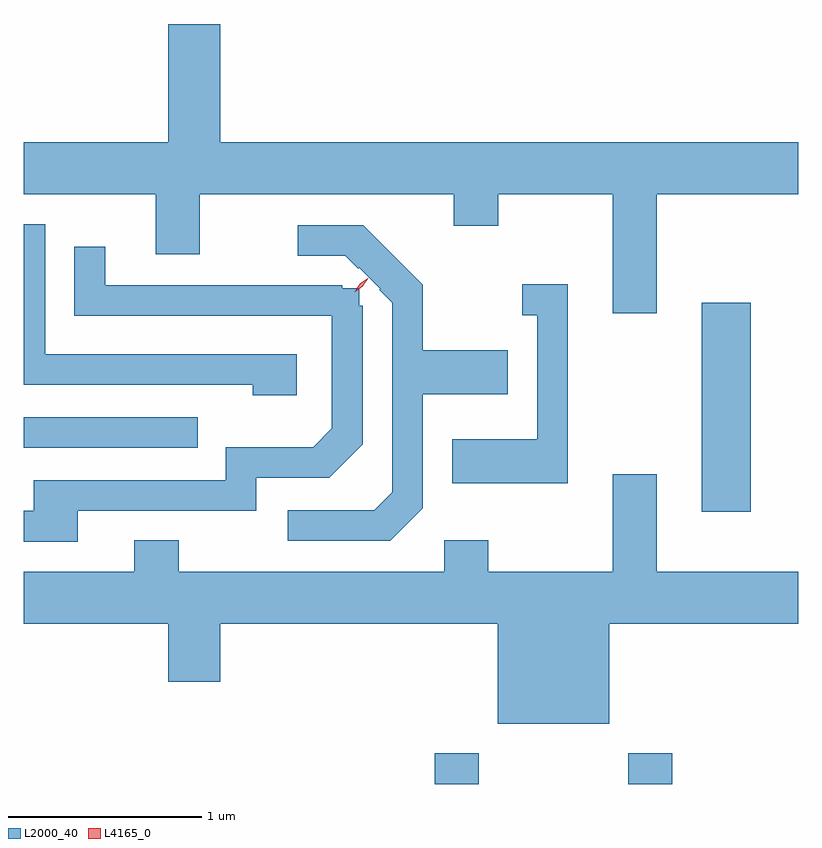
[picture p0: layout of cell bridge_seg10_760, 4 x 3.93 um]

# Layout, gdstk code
import gdstk
lib = gdstk.Library(unit=1e-6, precision=1e-09)
def R(c, l, rs):  # rectangles x0, y0, x1, y1
    for r in rs: c.add(gdstk.rectangle(r[:2], r[2:], *l))
def P(c, l, *ps):  # polygons
    for p in ps: c.add(gdstk.Polygon(p, *l))
L2000_40 = (2000, 40)
L4165_0 = (4165, 0)

bridge_seg10_760 = lib.new_cell('bridge_seg10_760')
R(bridge_seg10_760, L2000_40, [(596.071,2181.909,596.299,2182.069), (597.071,2181.909,597.299,2182.069), (597.451,2183.316,597.704,2184.394), (593.949,2183.646,594.848,2183.804)])
P(bridge_seg10_760, L2000_40, [(597.219,2184.956),(597.949,2184.956),(597.949,2185.224),(594.964,2185.224),(594.964,2185.834),(594.696,2185.834),(594.696,2185.224),(593.949,2185.224),(593.949,2184.956),(594.631,2184.956),(594.631,2184.646),(594.859,2184.646),(594.859,2184.956),(596.171,2184.956),(596.171,2184.791),(596.399,2184.791),(596.399,2184.956),(596.991,2184.956),(596.991,2184.341),(597.219,2184.341)],
  [(595.359,2184.129),(594.059,2184.129),(594.059,2184.799),(593.949,2184.799),(593.949,2183.971),(595.131,2183.971),(595.131,2183.916),(595.359,2183.916)],
  [(596.009,2183.334),(596.009,2183.921),(596.449,2183.921),(596.449,2184.149),(596.009,2184.149),(596.009,2184.487),(595.702,2184.794),(595.363,2184.794),(595.363,2184.636),(595.609,2184.636),(595.676,2184.569),(595.681,2184.575),(595.79,2184.466),(595.784,2184.461),(595.851,2184.394),(595.851,2183.417),(595.759,2183.324),(595.313,2183.324),(595.313,2183.166),(595.842,2183.166)],
  [(594.229,2183.321),(595.149,2183.321),(595.149,2183.491),(595.527,2183.491),(595.699,2183.664),(595.699,2184.38),(595.683,2184.38),(595.683,2184.468),(595.595,2184.468),(595.595,2184.484),(594.369,2184.484),(594.369,2184.683),(594.211,2184.683),(594.211,2184.326),(595.541,2184.326),(595.541,2183.747),(595.444,2183.649),(594.991,2183.649),(594.991,2183.479),(594.001,2183.479),(594.001,2183.319),(593.949,2183.319),(593.949,2183.161),(594.229,2183.161)],
  [(596.759,2184.489),(596.523,2184.489),(596.523,2184.331),(596.601,2184.331),(596.601,2183.689),(596.161,2183.689),(596.161,2183.461),(596.759,2183.461)],
  [(596.974,2182.736),(597.949,2182.736),(597.949,2183.004),(597.219,2183.004),(597.219,2183.509),(596.991,2183.509),(596.991,2183.004),(596.349,2183.004),(596.349,2183.169),(596.121,2183.169),(596.121,2183.004),(594.749,2183.004),(594.749,2183.169),(594.521,2183.169),(594.521,2183.004),(593.949,2183.004),(593.949,2182.736),(594.696,2182.736),(594.696,2182.436),(594.964,2182.436),(594.964,2182.736),(596.396,2182.736),(596.396,2182.221),(596.974,2182.221)])
P(bridge_seg10_760, L4165_0, [(595.658,2184.452),(595.658,2184.452),(595.686,2184.494),(595.727,2184.522),(595.728,2184.522),(595.728,2184.522),(595.7,2184.48),(595.659,2184.452)],
  [(595.661,2184.452),(595.661,2184.453),(595.687,2184.494),(595.726,2184.521),(595.727,2184.521),(595.727,2184.52),(595.701,2184.48),(595.662,2184.452)])

lib.write_gds('bridge_seg10_760.gds')
